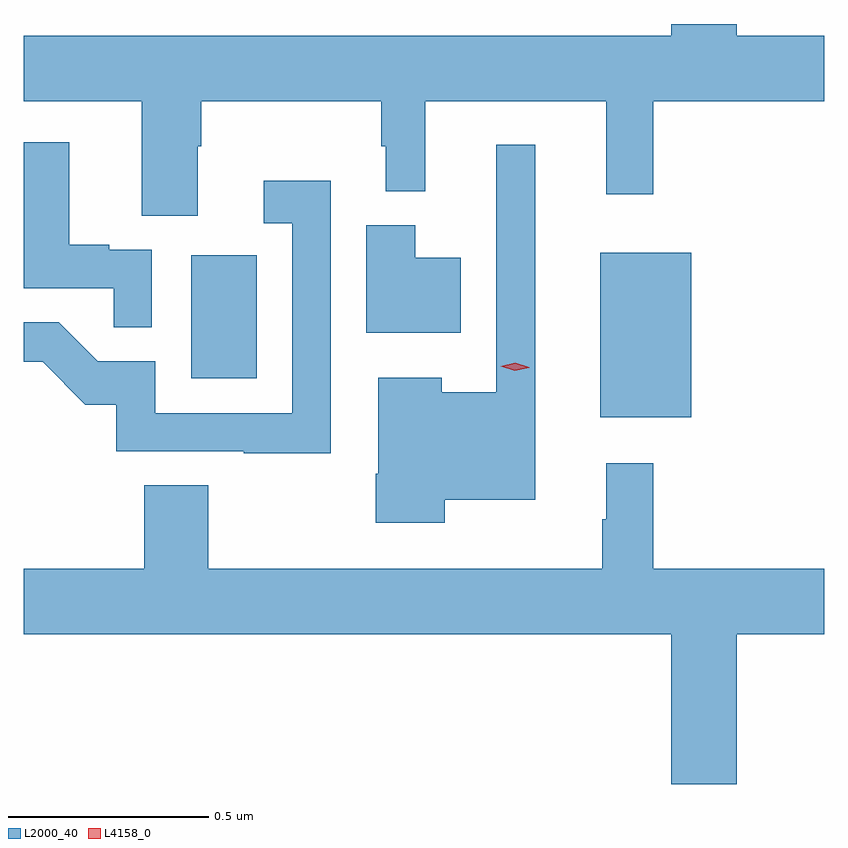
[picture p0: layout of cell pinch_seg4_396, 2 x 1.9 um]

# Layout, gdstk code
import gdstk
lib = gdstk.Library(unit=1e-6, precision=1e-09)
def R(c, l, rs):  # rectangles x0, y0, x1, y1
    for r in rs: c.add(gdstk.rectangle(r[:2], r[2:], *l))
def P(c, l, *ps):  # polygons
    for p in ps: c.add(gdstk.Polygon(p, *l))
L2000_40 = (2000, 40)
L4158_0 = (4158, 0)

pinch_seg4_396 = lib.new_cell('pinch_seg4_396')
R(pinch_seg4_396, L2000_40, [(992.003,778.715,992.23,779.125), (990.98,778.812,991.144,779.119)])
P(pinch_seg4_396, L2000_40, [(990.562,779.504),(990.857,779.504),(990.857,779.218),(990.997,779.218),(990.997,779.392),(991.005,779.392),(991.005,779.504),(991.455,779.504),(991.455,779.392),(991.466,779.392),(991.466,779.279),(991.565,779.279),(991.565,779.504),(992.018,779.504),(992.018,779.271),(992.135,779.271),(992.135,779.504),(992.562,779.504),(992.562,779.668),(992.344,779.668),(992.344,779.697),(992.18,779.697),(992.18,779.668),(990.562,779.668)],
  [(990.882,779.133),(990.776,779.133),(990.776,779.146),(990.676,779.146),(990.676,779.401),(990.562,779.401),(990.562,779.037),(990.787,779.037),(990.787,778.939),(990.882,778.939)],
  [(991.614,778.508),(991.84,778.508),(991.84,779.395),(991.743,779.395),(991.743,778.777),(991.606,778.777),(991.606,778.813),(991.448,778.813),(991.448,778.573),(991.441,778.573),(991.441,778.451),(991.614,778.451)],
  [(991.329,779.305),(991.161,779.305),(991.161,779.199),(991.233,779.199),(991.233,778.725),(990.891,778.725),(990.891,778.854),(990.747,778.854),(990.649,778.952),(990.562,778.952),(990.562,778.853),(990.609,778.853),(990.716,778.746),(990.793,778.746),(990.793,778.629),(991.111,778.629),(991.111,778.624),(991.329,778.624)],
  [(991.654,779.113),(991.54,779.113),(991.54,779.194),(991.418,779.194),(991.418,778.925),(991.654,778.925)],
  [(992.344,778.172),(992.562,778.172),(992.562,778.336),(992.135,778.336),(992.135,778.6),(992.018,778.6),(992.018,778.46),(992.007,778.46),(992.007,778.336),(991.023,778.336),(991.023,778.544),(990.863,778.544),(990.863,778.336),(990.562,778.336),(990.562,778.172),(992.18,778.172),(992.18,777.798),(992.344,777.798)])
P(pinch_seg4_396, L4158_0, [(991.789,778.83),(991.754,778.842),(991.753,778.842),(991.754,778.842),(991.79,778.85),(991.825,778.839),(991.825,778.838),(991.825,778.838)])

lib.write_gds('pinch_seg4_396.gds')
